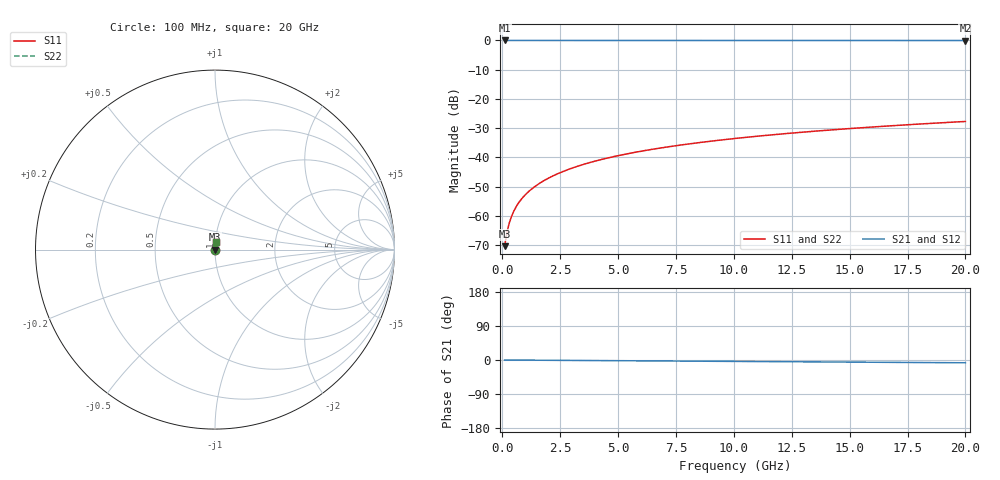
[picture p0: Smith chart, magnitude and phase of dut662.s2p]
! Touchstone file exported from HFSS 2026.1.0
!  File:  C:/ffzhzh/LocalFiles/Ansys_Project_Files/temp_train_TSV_662_1783026934_46388.aedt
!  Generated:  05:17:27 AM Jul  3, 2026
!  Design:  TSV
!  Project:  temp_train_TSV_662_1783026934_46388
! Variables:
!  h_bsmrdl = 2um
!  h_ox = 20um
!  h_rdl = 5um
!  h_sub = 66.49um
!  h_tmrdl = 5um
!  h_tsv = 66.49um
!  h_via = 3um
!  l_bsmrdl = 300um
!  l_sub = 414.44um
!  l_tmrdl = 200um
!  m_sub = 200um
!  pitch = 44.49um
!  r_tsv = 7.22um
!  s_tmrdl = 10um
!  w_bsmrdl = 18um
!  w_sub = 500um
!  w_tmrdl = 12um
!  x_tsv_center1 = 206um
!  x_tsv_center2 = 524um
!  x_tsv_center3 = 736um
!  x_tsv_center4 = 1054um
!  x_tsv_center5 = 1266um
!  x_tsv_center6 = 1584um
# GHz S MA R 50.000000
! Terminal data exported
! Port[1] = TSV1_1_T1
! Port[2] = TSV1_1_T2
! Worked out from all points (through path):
!   200 points, 100 MHz to 20 GHz, reference 50 ohm
!   highest |S21| = 0.00 dB at 100 MHz (marker M1); lowest = 0.0 dB at 20 GHz (marker M2)
!   group delay of S21, straight-line fit = 1.02 ps
!   lowest |S11| = -70.3 dB at 100 MHz (marker M3), VSWR 1.00, Z = 50 + j0.0245 ohm
!   |S11| at or under -10 dB: start of sweep to end of sweep
!   |S22| runs from -70.3 to -27.7 dB; largest |S21 - S12| = 2.1e-15
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0.1  0.0003048 53.4  0.9998 -0.0  0.9998 -0.0  0.0003048 53.4
! Gamma 0 0 0 0
! Port Impedance 50 0 50 0
0.2  0.0005238 68.6  0.9998 -0.1  0.9998 -0.1  0.0005238 68.6
0.3  0.0007555 74.1  0.9998 -0.1  0.9998 -0.1  0.0007555 74.1
0.4  0.0009876 76.8  0.9998 -0.2  0.9998 -0.2  0.0009876 76.8
0.5  0.001217 78.4  0.9998 -0.2  0.9998 -0.2  0.001217 78.4
0.6  0.001443 79.3  0.9997 -0.2  0.9997 -0.2  0.001443 79.3
0.7  0.001666 80.0  0.9997 -0.3  0.9997 -0.3  0.001666 80.0
0.8  0.001886 80.6  0.9997 -0.3  0.9997 -0.3  0.001886 80.6
1  0.002319 81.4  0.9997 -0.4  0.9997 -0.4  0.002319 81.4
1.4  0.003173 82.5  0.9996 -0.5  0.9996 -0.5  0.003173 82.5
1.7  0.003809 83.1  0.9996 -0.6  0.9996 -0.6  0.003809 83.1
2  0.004444 83.5  0.9995 -0.8  0.9995 -0.8  0.004444 83.5
2.7  0.005922 84.1  0.9995 -1.0  0.9995 -1.0  0.005922 84.1
3.5  0.007605 84.4  0.9994 -1.3  0.9994 -1.3  0.007605 84.4
4.2  0.009069 84.5  0.9993 -1.6  0.9993 -1.6  0.009069 84.5
5  0.01073 84.5  0.9993 -1.9  0.9993 -1.9  0.01073 84.5
6.8  0.01446 84.3  0.9991 -2.5  0.9991 -2.5  0.01446 84.3
8.3  0.01754 84.0  0.999 -3.1  0.999 -3.1  0.01754 84.0
10.1  0.02122 83.6  0.9988 -3.7  0.9988 -3.7  0.02122 83.6
13.4  0.02794 82.8  0.9985 -5.0  0.9985 -5.0  0.02794 82.8
16.7  0.03463 81.8  0.9982 -6.2  0.9982 -6.2  0.03463 81.8
20  0.04126 80.7  0.9978 -7.4  0.9978 -7.4  0.04126 80.7
